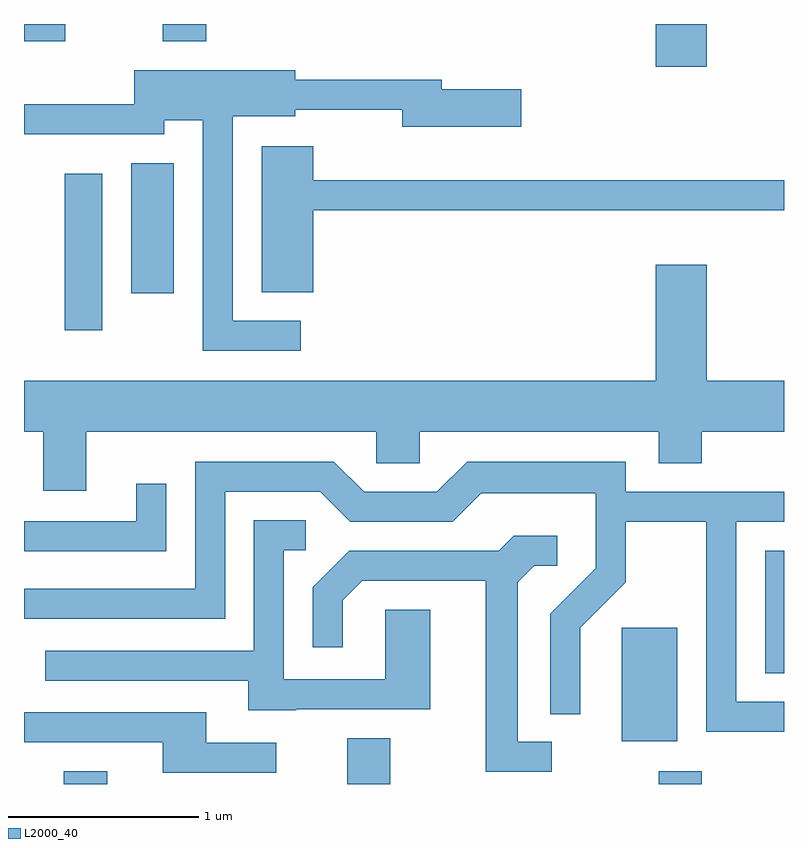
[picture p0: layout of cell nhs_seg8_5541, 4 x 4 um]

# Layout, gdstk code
import gdstk
lib = gdstk.Library(unit=1e-6, precision=1e-09)
def R(c, l, rs):  # rectangles x0, y0, x1, y1
    for r in rs: c.add(gdstk.rectangle(r[:2], r[2:], *l))
def P(c, l, *ps):  # polygons
    for p in ps: c.add(gdstk.Polygon(p, *l))
L2000_40 = (2000, 40)

nhs_seg8_5541 = lib.new_cell('nhs_seg8_5541')
R(nhs_seg8_5541, L2000_40, [(351.821,1832.342,352.049,1832.409), (353.311,1832.342,353.539,1832.584), (354.951,1832.342,355.179,1832.409), (354.756,1832.566,355.049,1833.164), (355.511,1832.926,355.611,1833.569), (351.826,1834.731,352.024,1835.554), (352.176,1834.926,352.399,1835.609), (354.936,1836.116,355.204,1836.342), (351.611,1836.251,351.829,1836.342), (352.341,1836.251,352.569,1836.342)])
P(nhs_seg8_5541, L2000_40, [(353.068,1834.779),(352.709,1834.779),(352.709,1835.856),(353.039,1835.856),(353.039,1835.891),(353.601,1835.891),(353.601,1835.801),(354.229,1835.801),(354.229,1835.999),(353.809,1835.999),(353.809,1836.049),(353.039,1836.049),(353.039,1836.099),(352.191,1836.099),(352.191,1835.919),(351.611,1835.919),(351.611,1835.761),(352.349,1835.761),(352.349,1835.836),(352.551,1835.836),(352.551,1834.621),(353.068,1834.621)],
  [(353.134,1835.361),(355.611,1835.361),(355.611,1835.519),(353.134,1835.519),(353.134,1835.699),(352.861,1835.699),(352.861,1834.931),(353.134,1834.931)],
  [(351.939,1834.196),(353.466,1834.196),(353.466,1834.031),(353.694,1834.031),(353.694,1834.196),(354.951,1834.196),(354.951,1834.031),(355.179,1834.031),(355.179,1834.196),(355.611,1834.196),(355.611,1834.464),(355.204,1834.464),(355.204,1835.074),(354.936,1835.074),(354.936,1834.464),(351.611,1834.464),(351.611,1834.196),(351.711,1834.196),(351.711,1833.886),(351.939,1833.886)],
  [(355.611,1832.774),(355.359,1832.774),(355.359,1833.721),(355.611,1833.721),(355.611,1833.879),(354.779,1833.879),(354.779,1834.039),(353.944,1834.039),(353.784,1833.879),(353.402,1833.879),(353.242,1834.039),(352.511,1834.039),(352.511,1833.369),(351.611,1833.369),(351.611,1833.211),(352.669,1833.211),(352.669,1833.881),(353.169,1833.881),(353.329,1833.721),(353.867,1833.721),(354.017,1833.871),(354.621,1833.871),(354.621,1833.477),(354.381,1833.237),(354.381,1832.708),(354.539,1832.708),(354.539,1833.164),(354.779,1833.404),(354.779,1833.721),(355.201,1833.721),(355.201,1832.616),(355.611,1832.616)],
  [(352.359,1833.923),(352.201,1833.923),(352.201,1833.724),(351.611,1833.724),(351.611,1833.566),(352.359,1833.566)],
  [(353.045,1832.736),(353.749,1832.736),(353.749,1833.259),(353.511,1833.259),(353.511,1832.894),(352.979,1832.894),(352.979,1833.571),(353.093,1833.571),(353.093,1833.729),(352.821,1833.729),(352.821,1833.044),(351.723,1833.044),(351.723,1832.886),(352.791,1832.886),(352.791,1832.731),(353.045,1832.731)],
  [(354.388,1832.564),(354.209,1832.564),(354.209,1833.404),(354.297,1833.491),(354.418,1833.491),(354.418,1833.649),(354.189,1833.649),(354.109,1833.569),(353.324,1833.569),(353.131,1833.377),(353.131,1833.063),(353.289,1833.063),(353.289,1833.309),(353.392,1833.411),(354.041,1833.411),(354.041,1832.406),(354.388,1832.406)],
  [(352.938,1832.559),(352.569,1832.559),(352.569,1832.719),(351.611,1832.719),(351.611,1832.561),(352.341,1832.561),(352.341,1832.401),(352.938,1832.401)])

lib.write_gds('nhs_seg8_5541.gds')
